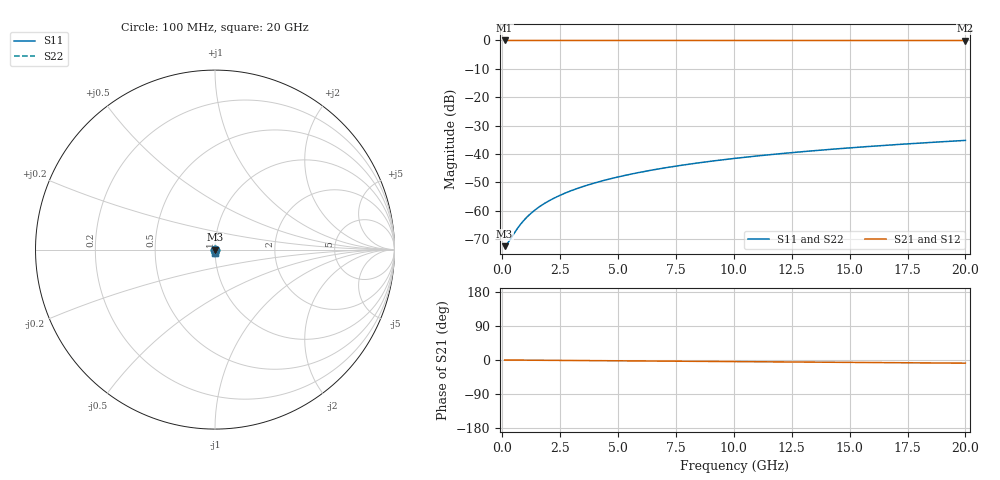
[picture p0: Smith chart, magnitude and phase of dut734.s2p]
! Touchstone file exported from HFSS 2026.1.0
!  File:  C:/ffzhzh/LocalFiles/Ansys_Project_Files/temp_train_TSV_734_1783182597_51560.aedt
!  Generated:  12:31:37 AM Jul  5, 2026
!  Design:  TSV
!  Project:  temp_train_TSV_734_1783182597_51560
! Variables:
!  h_bsmrdl = 2um
!  h_ox = 20um
!  h_rdl = 5um
!  h_sub = 88.85um
!  h_tmrdl = 5um
!  h_tsv = 88.85um
!  h_via = 3um
!  l_bsmrdl = 300um
!  l_sub = 414.54um
!  l_tmrdl = 200um
!  m_sub = 200um
!  pitch = 26.34um
!  r_tsv = 7.27um
!  s_tmrdl = 10um
!  w_bsmrdl = 18um
!  w_sub = 500um
!  w_tmrdl = 12um
!  x_tsv_center1 = 206um
!  x_tsv_center2 = 524um
!  x_tsv_center3 = 736um
!  x_tsv_center4 = 1054um
!  x_tsv_center5 = 1266um
!  x_tsv_center6 = 1584um
# GHz S MA R 50.000000
! Terminal data exported
! Port[1] = TSV1_1_T1
! Port[2] = TSV1_1_T2
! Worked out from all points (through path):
!   200 points, 100 MHz to 20 GHz, reference 50 ohm
!   highest |S21| = 0.00 dB at 100 MHz (marker M1); lowest = 0.0 dB at 20 GHz (marker M2)
!   group delay of S21, straight-line fit = 1.16 ps
!   lowest |S11| = -72.4 dB at 100 MHz (marker M3), VSWR 1.00, Z = 50 - j0.00281 ohm
!   |S11| at or under -10 dB: start of sweep to end of sweep
!   |S22| runs from -72.4 to -35.2 dB; largest |S21 - S12| = 2e-15
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0.1  0.0002392 -6.7  0.9998 -0.0  0.9998 -0.0  0.0002392 -6.7
! Gamma 0 0 0 0
! Port Impedance 50 0 50 0
0.2  0.0002612 -13.3  0.9997 -0.1  0.9997 -0.1  0.0002612 -13.3
0.3  0.0002961 -19.6  0.9997 -0.1  0.9997 -0.1  0.0002961 -19.6
0.6  0.0004553 -35.7  0.9996 -0.3  0.9996 -0.3  0.0004553 -35.7
0.7  0.0005199 -39.9  0.9996 -0.3  0.9996 -0.3  0.0005199 -39.9
0.9  0.0006581 -47.0  0.9995 -0.4  0.9995 -0.4  0.0006582 -47.0
1.2  0.0008778 -54.7  0.9995 -0.5  0.9995 -0.5  0.0008778 -54.7
1.5  0.001105 -60.1  0.9994 -0.6  0.9994 -0.6  0.001105 -60.1
1.9  0.001413 -65.1  0.9994 -0.8  0.9994 -0.8  0.001413 -65.1
2.4  0.001805 -69.1  0.9993 -1.0  0.9993 -1.0  0.001805 -69.1
2.9  0.002206 -71.9  0.9993 -1.2  0.9993 -1.2  0.002206 -71.9
3.5  0.002695 -74.3  0.9992 -1.5  0.9992 -1.5  0.002695 -74.3
4.2  0.003278 -76.3  0.9991 -1.8  0.9991 -1.8  0.003278 -76.3
5  0.003957 -78.1  0.999 -2.1  0.999 -2.1  0.003957 -78.1
5.9  0.004734 -79.7  0.9989 -2.5  0.9989 -2.5  0.004734 -79.7
6.8  0.005521 -81.1  0.9989 -2.9  0.9989 -2.9  0.005521 -81.1
8.3  0.006847 -83.0  0.9987 -3.5  0.9987 -3.5  0.006847 -83.0
10.1  0.008451 -84.9  0.9986 -4.2  0.9986 -4.2  0.008451 -84.9
11.7  0.009884 -86.3  0.9985 -4.9  0.9985 -4.9  0.009884 -86.3
13.4  0.01141 -87.7  0.9984 -5.6  0.9984 -5.6  0.01141 -87.7
16.7  0.01439 -90.0  0.9981 -7.0  0.9981 -7.0  0.01439 -90.0
20  0.0174 -91.9  0.9979 -8.4  0.9979 -8.4  0.0174 -91.9
